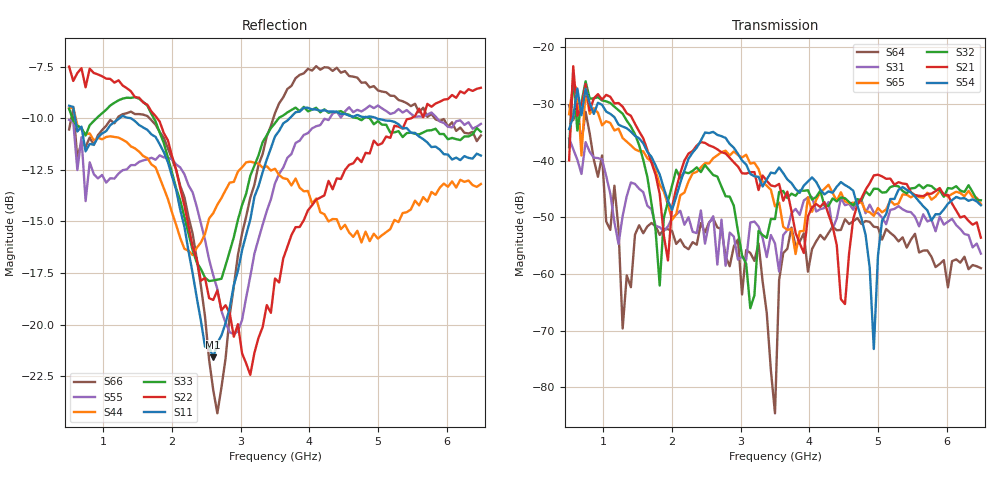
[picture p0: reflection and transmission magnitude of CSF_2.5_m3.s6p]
!Keysight Technologies,M9804A,MY58100912,A.14.10.03
!Date: Thursday, April 27, 2023 10:28:33
!Correction: S11(C  6-Port  )
!S12(C  6-Port  )
!S13(C  6-Port  )
!S14(C  6-Port  )
!S15(C  6-Port  )
!S16(C  6-Port  )
!S21(C  6-Port  )
!S22(C  6-Port  )
!S23(C  6-Port  )
!S24(C  6-Port  )
!S25(C  6-Port  )
!S26(C  6-Port  )
!S31(C  6-Port  )
!S32(C  6-Port  )
!S33(C  6-Port  )
!S34(C  6-Port  )
!S35(C  6-Port  )
!S36(C  6-Port  )
!S41(C  6-Port  )
!S42(C  6-Port  )
!S43(C  6-Port  )
!S44(C  6-Port  )
!S45(C  6-Port  )
!S46(C  6-Port  )
!S51(C  6-Port  )
!S52(C  6-Port  )
!S53(C  6-Port  )
!S54(C  6-Port  )
!S55(C  6-Port  )
!S56(C  6-Port  )
!S61(C  6-Port  )
!S62(C  6-Port  )
!S63(C  6-Port  )
!S64(C  6-Port  )
!S65(C  6-Port  )
!S66(C  6-Port  )
!S6P File: Measurement: :
# Hz S  RI  R 50
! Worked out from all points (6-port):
!   101 points, 500 MHz to 6.5 GHz, reference 50 ohm
!   strongest paths, dB at 500 MHz, 2 GHz, 3.5 GHz, 5 GHz, 6.5 GHz:
!     S54: -34.4, -48.7, -42.3, -56.8, -47.9
!     S21: -39.9, -48.2, -44.5, -42.5, -53.6
!     S32: -37.6, -44.4, -50.3, -45.0, -47.0
!     S65: -31.8, -50.5, -48.1, -48.3, -47.7
!     S31: -36.1, -50.2, -54.6, -49.3, -56.4
!     S64: -30.2, -52.4, -84.6, -51.8, -59.0
!   lowest |S11| = -21.6 dB at 2.6 GHz (marker M1), VSWR 1.18, Z = 42.6 + j2.06 ohm
!   |S11| at or under -10 dB: 587.5 MHz to 1.236 GHz (648.9 MHz wide, 71.2 % of centre); 1.398 GHz to 3.715 GHz (2.317 GHz wide, 90.6 % of centre); 4.975 GHz to end of sweep
